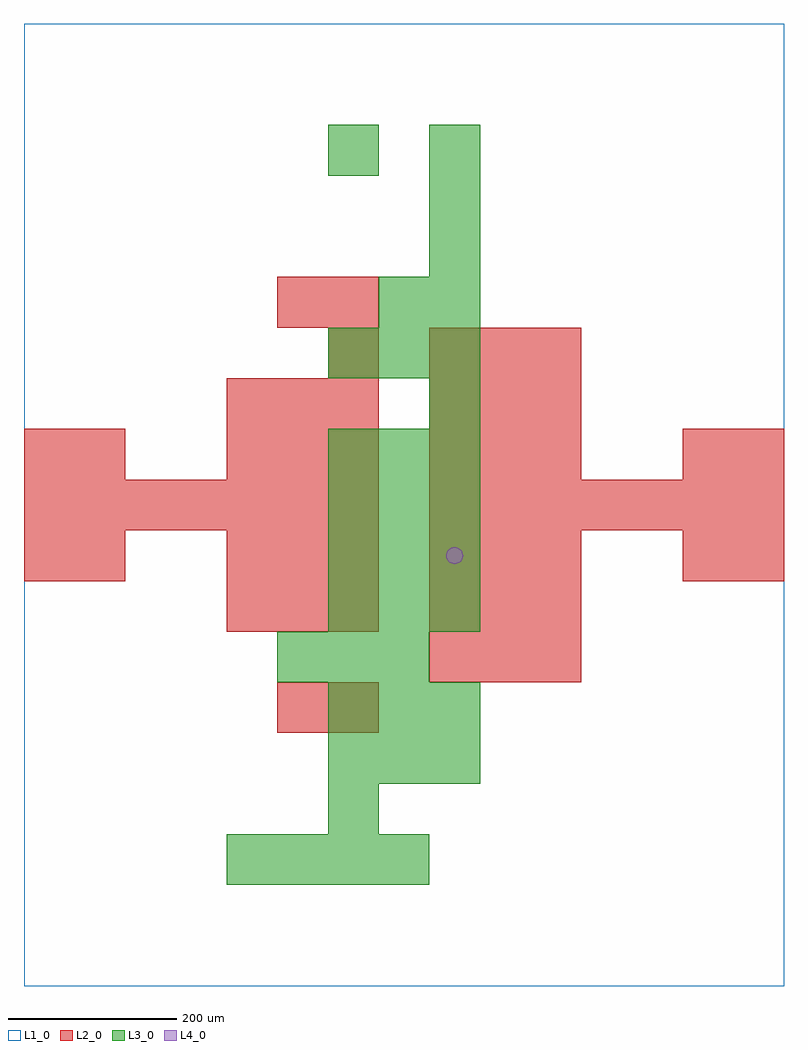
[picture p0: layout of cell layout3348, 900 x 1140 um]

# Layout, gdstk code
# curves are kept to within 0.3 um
import gdstk
lib = gdstk.Library(unit=1e-6, precision=1e-09)
def R(c, l, rs):  # rectangles x0, y0, x1, y1
    for r in rs: c.add(gdstk.rectangle(r[:2], r[2:], *l))
def A(c, l, x, y, w, h, nx, ny, dx, dy):  # array of equal rectangles
    R(c, l, [(x+i*dx, y+j*dy, x+i*dx+w, y+j*dy+h) for i in range(nx) for j in range(ny)])
def P(c, l, *ps):  # polygons
    for p in ps: c.add(gdstk.Polygon(p, *l))
L1_0 = (1, 0)
L2_0 = (2, 0)
L3_0 = (3, 0)
L4_0 = (4, 0)

layout3348 = lib.new_cell('layout3348')
R(layout3348, L1_0, [(0,0,900,1140)])
A(layout3348, L2_0, 480, 360, 60, 60, 3, 3, 60, 60)
A(layout3348, L2_0, 240, 420, 60, 60, 3, 2, 60, 60)
A(layout3348, L2_0, 0, 540, 60, 60, 7, 1, 60, 0)
A(layout3348, L2_0, 480, 540, 60, 60, 7, 1, 60, 0)
A(layout3348, L2_0, 240, 600, 60, 60, 3, 2, 60, 60)
A(layout3348, L2_0, 480, 600, 60, 60, 3, 3, 60, 60)
R(layout3348, L2_0, [(300,300,360,360), (360,300,420,360), (0,480,60,540), (60,480,120,540), (780,480,840,540), (840,480,900,540), (0,600,60,660), (60,600,120,660), (780,600,840,660), (840,600,900,660), (360,720,420,780), (300,780,360,840), (360,780,420,840)])
A(layout3348, L3_0, 240, 120, 60, 60, 4, 1, 60, 0)
A(layout3348, L3_0, 360, 240, 60, 60, 3, 2, 60, 60)
A(layout3348, L3_0, 300, 360, 60, 60, 3, 1, 60, 0)
A(layout3348, L3_0, 360, 420, 60, 60, 3, 4, 60, 60)
A(layout3348, L3_0, 360, 720, 60, 60, 3, 1, 60, 0)
A(layout3348, L3_0, 480, 780, 60, 60, 1, 4, 0, 60)
R(layout3348, L3_0, [(360,180,420,240), (480,660,540,720), (420,780,480,840), (360,960,420,1020)])
P(layout3348, L4_0, [(520,510),(519.239,513.827),(517.071,517.071),(513.827,519.239),(510,520),(506.173,519.239),(502.929,517.071),(500.761,513.827),(500,510),(500.761,506.173),(502.929,502.929),(506.173,500.761),(510,500),(513.827,500.761),(517.071,502.929),(519.239,506.173)])

lib.write_gds('layout3348.gds')
